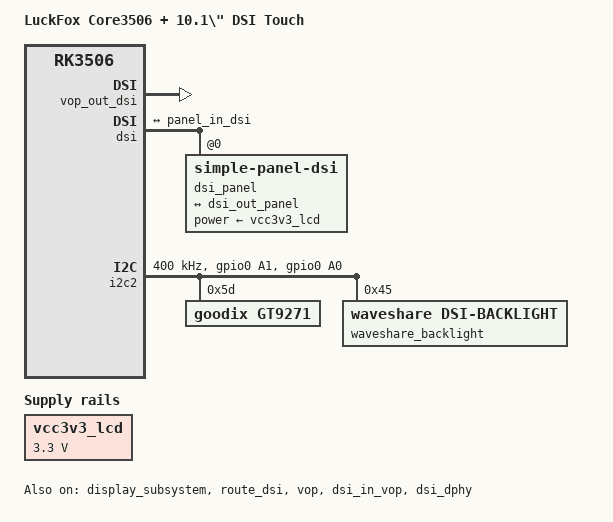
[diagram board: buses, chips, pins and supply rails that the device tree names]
// SPDX-License-Identifier: (GPL-2.0+ OR MIT)
/*
 * LuckFox Core3506 SoM + foxbridge carrier with the Luckfox
 * 10.1-DSI-TOUCH-A panel (800×1280 IPS, 10-point capacitive touch,
 * I2C-controlled backlight via waveshare-backlight MCU at 0x45).
 *
 * This is the panel Luckfox tests their Lyra Pi against, and the SDK
 * ships its panel-init-sequence as the active default in
 * `arch/arm/boot/dts/rk3506-luckfox-lyra-ultra.dtsi` (the "10inch1"
 * block at line ~200). We replicate that config here so the panel
 * brings up via Luckfox's known-good sequence.
 *
 * Architecture:
 *   - Panel: simple-panel-dsi with verbatim "10inch1" init bytes
 *     (Ilitek ILI9881C DCS sequence, 2-lane DSI, RGB888, 70 MHz pixel clock)
 *   - Touch: Goodix GT9271 (10-point capacitive) at I2C 0x5D
 *   - Backlight: waveshare-backlight MCU at I2C 0x45 (driver backported
 *     from the Lyra SDK — see 0001-add-waveshare-dsi-backlight-driver.patch)
 *
 * Pre-2026-05-09 history: this file previously targeted the Pi Touch
 * Display 1 via the panel-raspberrypi-touchscreen driver. That panel
 * has v2-firmware Atmel quirks the legacy driver doesn't handle, and
 * the 22-to-15-pin Pi5-Display-Cable produced compromised DSI signal
 * integrity. The Luckfox 10.1-DSI-TOUCH-A panel ships with native
 * 22-pin FPC cables (no remap adapter needed) and uses the
 * Luckfox-tested driver path, eliminating both classes of problem.
 */

/dts-v1/;

#include <dt-bindings/display/drm_mipi_dsi.h>
#include "rk3506b-luckfox-core3506.dtsi"

/ {
	model = "LuckFox Core3506 + 10.1\" DSI Touch";
	compatible = "luckfox,core3506-dsi", "luckfox,core3506", "rockchip,rk3506";

	/*
	 * Panel power rail. Foxbridge ties FPC VCC_3V3 directly to the
	 * SoM 3v3 rail. Regulator-fixed exists purely as a phandle
	 * target for `power-supply` properties on downstream nodes.
	 */
	vcc3v3_lcd: vcc3v3-lcd {
		compatible = "regulator-fixed";
		regulator-name = "vcc3v3_lcd";
		regulator-always-on;
		regulator-boot-on;
		regulator-min-microvolt = <3300000>;
		regulator-max-microvolt = <3300000>;
	};
};

&pinctrl {
	/*
	 * I2C2 pin overrides (pull-up vs the rmio default of pull-none).
	 * Matches Luckfox Lyra Ultra dtsi.
	 */
	rm_io0 {
		rm_io0_i2c2_sda: rm-io0-i2c2-sda {
			rockchip,pins = <0 RK_PA0 35 &pcfg_pull_up>;
		};
	};

	rm_io1 {
		rm_io1_i2c2_scl: rm-io1-i2c2-scl {
			rockchip,pins = <0 RK_PA1 34 &pcfg_pull_up>;
		};
	};
};

/*
 * CMA pool for DRM framebuffer allocations. rk3502.dtsi declares the
 * `cma` node with size=0; without an override, drm_gem_cma_create()
 * returns -ENOMEM on the first modeset. 32 MB matches Rockchip's
 * rk3506g-demo-display-control.dts and gives headroom for VOP overlay
 * planes plus future camera/video buffers.
 */
&cma {
	size = <0x2000000>;
};

/*
 * Display pipeline: VOP -> DSI host -> DSI D-PHY -> ILI9881C panel.
 * All disabled in rk3506.dtsi by default; flip them on here. The
 * display_subsystem master node is required for the rockchip-drm
 * component aggregator to bind and create /dev/dri/card0.
 */
&display_subsystem {
	status = "okay";
};

&route_dsi {
	status = "okay";
	connect = <&vop_out_dsi>;
};

&vop {
	status = "okay";
};

&vop_out_dsi {
	status = "okay";
};

&dsi_in_vop {
	status = "okay";
};

&dsi_dphy {
	status = "okay";
};

&dsi {
	status = "okay";

	dsi_panel: panel@0 {
		status = "okay";
		compatible = "simple-panel-dsi";
		reg = <0>;
		bpc = <8>;
		power-supply = <&vcc3v3_lcd>;

		prepare-delay-ms = <120>;
		reset-delay-ms = <120>;
		init-delay-ms = <120>;
		disable-delay-ms = <120>;
		unprepare-delay-ms = <120>;

		dsi,flags = <(MIPI_DSI_MODE_VIDEO | MIPI_DSI_MODE_VIDEO_BURST |
			      MIPI_DSI_MODE_LPM | MIPI_DSI_MODE_NO_EOT_PACKET)>;
		dsi,format = <MIPI_DSI_FMT_RGB888>;
		dsi,lanes = <2>;

		/* 10.1-DSI-TOUCH-A physical dimensions (10.1" 16:10). */
		width-mm = <216>;
		height-mm = <135>;

		/*
		 * Panel is mounted in landscape but is natively portrait
		 * (800x1280). rotation=270 = 90° CCW. DRM reads this via
		 * of_drm_get_panel_orientation: KMS clients honour it, and the
		 * DRM fbdev-emulation rotates /dev/fb0 to match (so psplash /
		 * fbcon come up landscape too). Flip to 90 if the image is CCW
		 * the wrong way.
		 */
		rotation = <270>;

		/*
		 * Verbatim "10inch1" init from Luckfox SDK
		 * `rk3506-luckfox-lyra-ultra.dtsi` line ~205. Ilitek ILI9881C
		 * panel controller — the manufacturer command set (CMD2 BK0/1/2)
		 * is selected by the `15 00 02 E0 NN` writes; subsequent
		 * register writes target each bank.
		 */
		panel-init-sequence = [
			15 00 02 E0 00
			15 00 02 E1 93
			15 00 02 E2 65
			15 00 02 E3 F8
			15 00 02 80 01
			15 00 02 E0 01
			15 00 02 00 00
			15 00 02 01 38
			15 00 02 03 10
			15 00 02 04 38
			15 00 02 0C 74
			15 00 02 17 00
			15 00 02 18 AF
			15 00 02 19 00
			15 00 02 1A 00
			15 00 02 1B AF
			15 00 02 1C 00
			15 00 02 35 26
			15 00 02 37 09
			15 00 02 38 04
			15 00 02 39 00
			15 00 02 3A 01
			15 00 02 3C 78
			15 00 02 3D FF
			15 00 02 3E FF
			15 00 02 3F 7F
			15 00 02 40 06
			15 00 02 41 A0
			15 00 02 42 81
			15 00 02 43 1E
			15 00 02 44 0D
			15 00 02 45 28
			15 00 02 55 02
			15 00 02 57 69
			15 00 02 59 0A
			15 00 02 5A 2A
			15 00 02 5B 17
			15 00 02 5D 7F
			15 00 02 5E 6A
			15 00 02 5F 5B
			15 00 02 60 4F
			15 00 02 61 4A
			15 00 02 62 3D
			15 00 02 63 41
			15 00 02 64 2A
			15 00 02 65 44
			15 00 02 66 43
			15 00 02 67 44
			15 00 02 68 62
			15 00 02 69 52
			15 00 02 6A 59
			15 00 02 6B 4C
			15 00 02 6C 48
			15 00 02 6D 3A
			15 00 02 6E 26
			15 00 02 6F 00
			15 00 02 70 7F
			15 00 02 71 6A
			15 00 02 72 5B
			15 00 02 73 4F
			15 00 02 74 4A
			15 00 02 75 3D
			15 00 02 76 41
			15 00 02 77 2A
			15 00 02 78 44
			15 00 02 79 43
			15 00 02 7A 44
			15 00 02 7B 62
			15 00 02 7C 52
			15 00 02 7D 59
			15 00 02 7E 4C
			15 00 02 7F 48
			15 00 02 80 3A
			15 00 02 81 26
			15 00 02 82 00
			15 00 02 E0 02
			15 00 02 00 42
			15 00 02 01 42
			15 00 02 02 40
			15 00 02 03 40
			15 00 02 04 5E
			15 00 02 05 5E
			15 00 02 06 5F
			15 00 02 07 5F
			15 00 02 08 5F
			15 00 02 09 57
			15 00 02 0A 57
			15 00 02 0B 77
			15 00 02 0C 77
			15 00 02 0D 47
			15 00 02 0E 47
			15 00 02 0F 45
			15 00 02 10 45
			15 00 02 11 4B
			15 00 02 12 4B
			15 00 02 13 49
			15 00 02 14 49
			15 00 02 15 5F
			15 00 02 16 41
			15 00 02 17 41
			15 00 02 18 40
			15 00 02 19 40
			15 00 02 1A 5E
			15 00 02 1B 5E
			15 00 02 1C 5F
			15 00 02 1D 5F
			15 00 02 1E 5F
			15 00 02 1F 57
			15 00 02 20 57
			15 00 02 21 77
			15 00 02 22 77
			15 00 02 23 46
			15 00 02 24 46
			15 00 02 25 44
			15 00 02 26 44
			15 00 02 27 4A
			15 00 02 28 4A
			15 00 02 29 48
			15 00 02 2A 48
			15 00 02 2B 5F
			15 00 02 2C 01
			15 00 02 2D 01
			15 00 02 2E 00
			15 00 02 2F 00
			15 00 02 30 1F
			15 00 02 31 1F
			15 00 02 32 1E
			15 00 02 33 1E
			15 00 02 34 1F
			15 00 02 35 17
			15 00 02 36 17
			15 00 02 37 37
			15 00 02 38 37
			15 00 02 39 08
			15 00 02 3A 08
			15 00 02 3B 0A
			15 00 02 3C 0A
			15 00 02 3D 04
			15 00 02 3E 04
			15 00 02 3F 06
			15 00 02 40 06
			15 00 02 41 1F
			15 00 02 42 02
			15 00 02 43 02
			15 00 02 44 00
			15 00 02 45 00
			15 00 02 46 1F
			15 00 02 47 1F
			15 00 02 48 1E
			15 00 02 49 1E
			15 00 02 4A 1F
			15 00 02 4B 17
			15 00 02 4C 17
			15 00 02 4D 37
			15 00 02 4E 37
			15 00 02 4F 09
			15 00 02 50 09
			15 00 02 51 0B
			15 00 02 52 0B
			15 00 02 53 05
			15 00 02 54 05
			15 00 02 55 07
			15 00 02 56 07
			15 00 02 57 1F
			15 00 02 58 40
			15 00 02 5B 30
			15 00 02 5C 00
			15 00 02 5D 34
			15 00 02 5E 05
			15 00 02 5F 02
			15 00 02 63 00
			15 00 02 64 6A
			15 00 02 67 73
			15 00 02 68 07
			15 00 02 69 08
			15 00 02 6A 6A
			15 00 02 6B 08
			15 00 02 6C 00
			15 00 02 6D 00
			15 00 02 6E 00
			15 00 02 6F 88
			15 00 02 75 FF
			15 00 02 77 DD
			15 00 02 78 2C
			15 00 02 79 15
			15 00 02 7A 17
			15 00 02 7D 14
			15 00 02 7E 82
			15 00 02 E0 04
			15 00 02 00 0E
			15 00 02 02 B3
			15 00 02 09 61
			15 00 02 0E 48
			15 00 02 E0 00
			15 00 02 E6 02
			15 00 02 E7 0C
			05 78 01 11
			05 00 01 E0
			05 05 01 29
		];

		disp_timings0: display-timings {
			native-mode = <&dsi_timing0>;

			/* "10inch1" timing — Luckfox SDK ws_10inch_1 / dsi_timing0 */
			dsi_timing0: timing0 {
				clock-frequency = <70000000>; /* 60 fps */
				hactive = <800>;
				vactive = <1280>;

				vsync-len = <4>;
				vback-porch = <10>;
				vfront-porch = <30>;

				hsync-len = <20>;
				hback-porch = <20>;
				hfront-porch = <40>;

				vsync-active = <0>;
				hsync-active = <0>;
				de-active = <0>;
				pixelclk-active = <0>;
			};
		};

		ports {
			#address-cells = <1>;
			#size-cells = <0>;

			port@0 {
				reg = <0>;
				panel_in_dsi: endpoint {
					remote-endpoint = <&dsi_out_panel>;
				};
			};
		};
	};

	ports {
		#address-cells = <1>;
		#size-cells = <0>;

		port@1 {
			reg = <1>;
			dsi_out_panel: endpoint {
				remote-endpoint = <&panel_in_dsi>;
			};
		};
	};
};

/*
 * Touch I2C bus.
 *   gt9271@0x5d   — 10-point Goodix capacitive touch (matches the panel)
 *   waveshare_backlight@0x45 — backlight MCU. The driver registers a
 *                              backlight class device; userspace can
 *                              control brightness via /sys/class/backlight/.
 */
&i2c2 {
	clock-frequency = <400000>;
	pinctrl-names = "default";
	pinctrl-0 = <&rm_io1_i2c2_scl &rm_io0_i2c2_sda>;
	status = "okay";

	/*
	 * TODO (touch deferred 2026-05-25): GT9271 capacitive touch.
	 * The chip answers on I2C2 at 0x5d (ID 9271), but the panel's
	 * published 22-pin interface exposes only MIPI DSI + I2C — it does
	 * NOT bring out the GT9271 INT line (FPC pins 5/6 are "reserved";
	 * there is no interrupt pin). So there's no INT for any carrier to
	 * route: this panel is designed for I2C-polled touch. Confirmed on HW
	 * that Foxbridge's two spare lines to the reserved pins (GPIO0_C0 /
	 * GPIO1_C5) carry no touch activity — with mainline goodix bound to
	 * C0 the IRQ never fired, and C5 never toggled on touch. The mainline
	 * goodix driver requires an interrupt, so it cannot drive this panel.
	 * Plan: poll the GT9271 over I2C via a userspace I2C->uinput daemon,
	 * or a gt9xx-driver poll-mode patch. Until then the node is disabled
	 * so nothing claims 0x5d (a poll daemon opens /dev/i2c-2 directly).
	 * See doom.md task list + [[project_dsi_screen_status]].
	 */
	/*
	 * GT9271 10-point capacitive touch. The 10.1-DSI-TOUCH-A exposes no
	 * touch INT line on this carrier, so there are NO interrupt/reset GPIOs
	 * — the goodix driver runs in 60fps I2C poll mode (see
	 * 0002-goodix-touch-poll-mode.patch, backported from the Luckfox Lyra
	 * SDK). This minimal node (compatible + reg only) matches the Lyra's
	 * working gt9271 node verbatim.
	 */
	gt9271: touchscreen@5d {
		status = "okay";
		compatible = "goodix,gt9271";
		reg = <0x5d>;
	};

	waveshare_backlight: backlight@45 {
		status = "okay";
		compatible = "waveshare,dsi-backlight";
		reg = <0x45>;
		default-brightness-level = <200>;
		max-brightness-level = <255>;
		min-brightness-level = <5>;
	};
};
